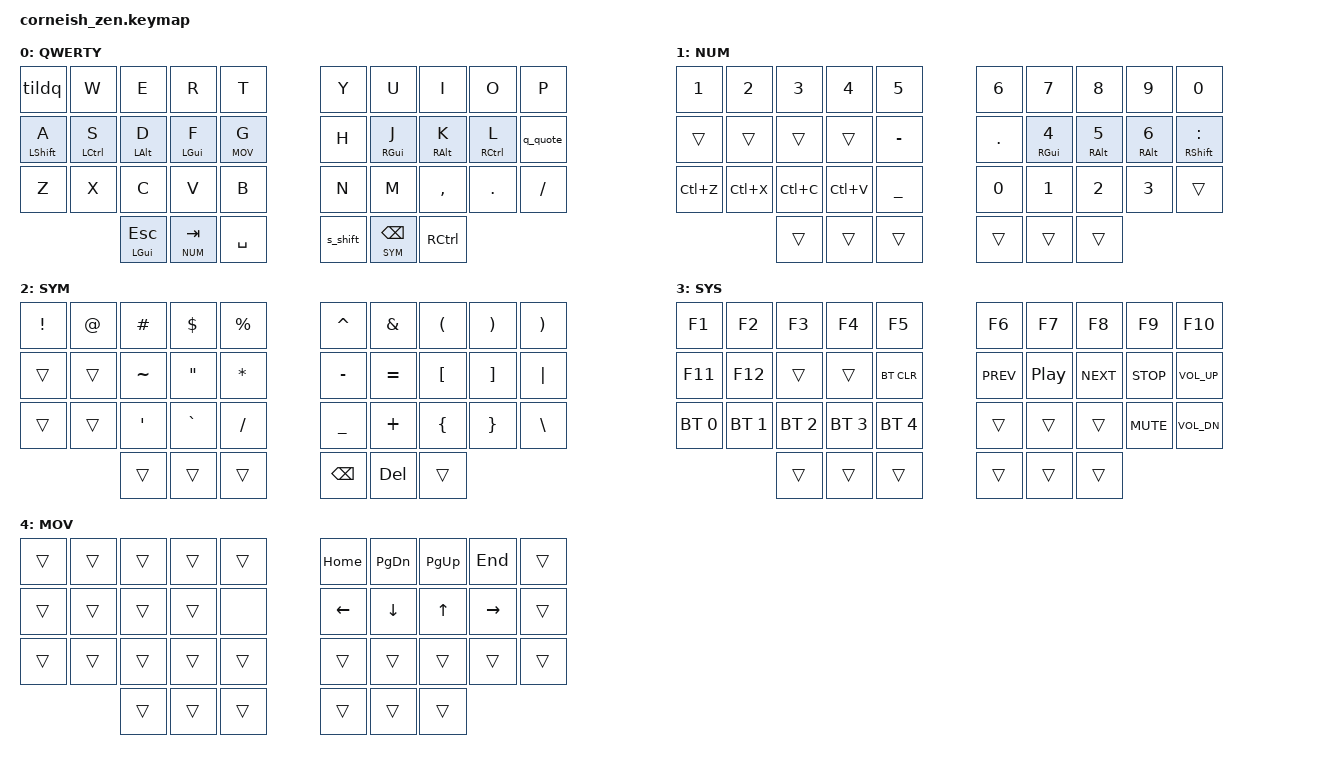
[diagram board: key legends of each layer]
#include <behaviors.dtsi>
#include <dt-bindings/zmk/keys.h>
#include <dt-bindings/zmk/bt.h>

#define DEF 0
#define NUM 1 
#define SYM 2
#define SYS 3
#define MOV 4

/ {
  chosen {
    zmk,physical-layout = &foostan_corne_5col_layout;
  };
};

  &caps_word {
    continue-list = <UNDERSCORE MINUS BSPC DEL N1 N2 N3 N4 N5 N6 N7 N8 N9 N0>;
  };

/ {
  conditional_layers {
    compatible = "zmk,conditional-layers";
    try_layer {
      if-layers = <1 2>;
      then-layer = <3>;
    };
  };
};

/ {
  behaviors {
    
    hm: home_row_mod {
      compatible = "zmk,behavior-hold-tap";
      #binding-cells = <2>;
      flavor = "balanced";
      require-prior-idle-ms = <150>;
      tapping-term-ms = <280>;
      quick-tap-ms = <175>;
      bindings = <&kp>, <&kp>;
    };

    tildq: tap_dance_0 {
      compatible = "zmk,behavior-tap-dance";
      #binding-cells = <0>;
      tapping-term-ms = <200>;
      bindings = <&kp Q>, <&kp TILDE>;
    };

    s_shift: tap_dance_1 {
      compatible = "zmk,behavior-tap-dance";
      #binding-cells = <0>;
      tapping-term-ms = <200>;
      bindings = <&mt RSHFT RET>, <&caps_word>;
    };

    q_quote: tap_dance_2 {
      compatible = "zmk,behavior-tap-dance";
      #binding-cells = <0>;
      tapping-term-ms = <200>;
      bindings = <&hm RSHFT SEMI>, <&kp DQT>;
    };
  };
};

/ {
  keymap {
    compatible = "zmk,keymap";

    DEF {
      display-name = "QWERTY";
      bindings = <
      // ╭──────────────┬─────────────┬─────────────┬─────────────┬─────────────╮      ╭─────────────┬─────────────┬──────────────┬─────────────┬─────────────╮
      // │    Q/(~)     │      W      │    E        │    R        │    T        │      │    Y        │    U        │    I         │    O        │    P        │
            &tildq           &kp W        &kp E         &kp R         &kp T                &kp Y         &kp U         &kp I          &kp O         &kp P
      // ├──────────────┼─────────────┼─────────────┼─────────────┼─────────────┤      ├─────────────┼─────────────┼──────────────┼─────────────┼─────────────┤
      // │    A         │    S        │    D        │    F        │    G        │      │    H        │ J/RGUI      │ K/RALT       │ L/RCTRL     │   ;/:/["]   │
          &hm LSHFT A     &hm LCTRL S  &hm LALT D    &hm LGUI F      &lt MOV G            &kp H       &hm RGUI J    &hm RALT K     &hm RCTRL L   &q_quote
      // ├──────────────┼─────────────┼─────────────┼─────────────┼─────────────┤      ├─────────────┼─────────────┼──────────────┼─────────────┼─────────────┤
      // │    Z         │    X        │    C        │    V        │    B        │      │    N        │    M        │    , <       │    . >      │    / ?      │
            &kp Z         &kp X         &kp C         &kp V         &kp B                 &kp N         &kp M         &kp COMMA      &kp DOT       &kp FSLH   
      // ╰──────────────┴─────────────├─────────────┼─────────────┼─────────────┤      ├─────────────┼─────────────┼──────────────┼─────────────┴─────────────╯
      //                              │  ESC/GUI     TAB/NUM      │    SPC      │      │ENT/SHFT/(CW)│   BSP/SYM   │    CTRL      │
                                        &mt LGUI ESC  &lt NUM TAB  &kp SPACE             &s_shift      &lt SYM BSPC    &kp RCTRL
      //                              ╰─────────────┴─────────────┴─────────────╯      ╰─────────────┴─────────────┴──────────────╯
      >;
    };

    NUM {
      display-name = "NUM";
      bindings = <
      // ╭─────────────┬─────────────┬─────────────┬─────────────┬─────────────╮       ╭─────────────┬─────────────┬─────────────┬─────────────┬─────────────╮
      // │    1 !      │     2 @     │    3 #      │      4 $    │    5        │       │     6       │     7       │     8       │     9       │    0        │
            &kp N1          &kp N2      &kp N3        &kp N4        &kp N5                  &kp N6       &kp N7        &kp N8        &kp N9      &kp N0 
      // ├─────────────┼─────────────┼─────────────┼─────────────┼─────────────┤       ├─────────────┼─────────────┼─────────────┼─────────────┼─────────────┤
      // │             │             │             │             │    -        │       │     .       │     4       │     5       │     6       │   :         │
            &trans          &trans      &trans        &trans      &kp MINUS             &kp DOT      &hm RGUI N4   &hm RALT N5   &hm RALT N6    &hm RSHFT COLON 
      // ├─────────────┼─────────────┼─────────────┼─────────────┼─────────────┤       ├─────────────┼─────────────┼─────────────┼─────────────┼─────────────┤
      // │  UNDO/bg%   │  CUT        │ COPY/SIGINIT   PASTE      │    _        │       │     0       │     1       │     2       │     3       │             │
            &kp LC(Z)     &kp LC(X)     &kp LC(C)    &kp LC(V)      &kp UNDER              &kp N0        &kp N1       &kp N2        &kp N3       &trans
      // ╰─────────────┴─────────────┼─────────────┼─────────────┼─────────────┤       ├─────────────┼─────────────┼─────────────┼─────────────┴─────────────╯
      //                             │             │             │             │       │             │             │             │
                                        &trans         &trans       &trans                &trans        &trans        &trans
      //                             ╰─────────────┴─────────────┴─────────────╯       ╰─────────────┴─────────────┴─────────────╯
      //
      >;
    };

    SYM {
      display-name = "SYM";
      bindings = <
      // ╭─────────────┬─────────────┬─────────────┬─────────────┬─────────────╮       ╭─────────────┬─────────────┬─────────────┬──────────────┬────────────╮
      // │  !          │  @          │  #          │  $          │  %          │       │  ^          │  &          │  (          │  )           │  )         │
            &kp EXCL      &kp AT        &kp HASH      &kp DLLR      &kp PRCNT             &kp CARET     &kp AMPS     &kp LPAR       &kp RPAR       &kp RPAR    
      // ├─────────────┼─────────────┼─────────────┼─────────────┼─────────────│       ├─────────────┼─────────────┼─────────────┼──────────────┼────────────┤
      // │             │             │     ~  `    │    "        │    *        │       │  ─          │  =          │  [          │  ]           │  "|"       │
            &trans        &trans        &kp TILDE       &kp DQT     &kp ASTRK             &kp MINUS     &kp EQUAL     &kp LBKT      &kp RBKT       &kp PIPE 
      // ├─────────────┼─────────────┼─────────────┼─────────────┼─────────────│       ├─────────────┼─────────────┼─────────────┼─────────────┼─────────────┤
      // │             │             │      '      │      `      │      /      │       │  ─          │  +          │  {          │  }          │    \        │
            &trans        &trans        &kp APOS      &kp GRAVE    &kp FSLH              &kp UNDER     &kp PLUS      &kp LBRC      &kp RBRC       &kp BSLH    
      // ╰─────────────┴─────────────┼─────────────┼─────────────┼─────────────│       ├─────────────┼─────────────┼─────────────┼─────────────┴─────────────╯
      //                             │             │             │             │       │             │             │             │
                                        &trans         &trans        &trans                &kp BSPC     &kp DEL        &trans
      //                             ╰─────────────┴─────────────┴─────────────╯       ╰─────────────┴─────────────┴─────────────╯
      >;
    };

    SYS {
      display-name = "SYS";
      bindings = <
      // ╭─────────────┬─────────────┬─────────────┬─────────────┬─────────────╮       ╭─────────────┬─────────────┬─────────────┬─────────────┬─────────────╮
      // │             │             │             │             │             │       │             │             │             │             │             │
            &kp F1        &kp F2        &kp F3        &kp F4        &kp F5                 &kp F6      &kp F7        &kp F8        &kp F9        &kp F10
      // ├─────────────┼─────────────┼─────────────┼─────────────┼─────────────┤       ├─────────────┼─────────────┼─────────────┼─────────────┼─────────────┤
      // │             │             │             │             │  BT clear   │       │   CPREV     │ PLAY/PAUSE  │   NEXT      │    STOP     │    VOL UP   │
            &kp F11       &kp F12       &trans       &trans        &bt BT_CLR             &kp C_PREV     &kp C_PP     &kp C_NEXT   &kp C_STOP   &kp C_VOL_UP
      // ├─────────────┼─────────────┼─────────────┼─────────────┼─────────────┤       ├─────────────┼─────────────┼─────────────┼─────────────┼─────────────┤
      // │ BT0         │    BT1      │   BT2       │  BT3        │  BT4        │       │             │             │             │    MUTE     │   VOL UP    │
          &bt BT_SEL 0  &bt BT_SEL 1  &bt BT_SEL 2  &bt BT_SEL 3  &bt BT_SEL 4              &trans      &trans        &trans      &kp C_MUTE    &kp C_VOL_DN 
      // ╰─────────────┴─────────────┼─────────────┼─────────────┼─────────────┤       ├─────────────┼─────────────┼─────────────┼─────────────┴─────────────╯
      //                             │             │             │             │       │             │             │             │                            
                                        &trans         &trans       &trans                &trans        &trans        &trans
      //                             ╰─────────────┴─────────────┴─────────────╯       ╰─────────────┴─────────────┴─────────────╯
      >;
    };

    MOV {
      display-name = "MOV";
      bindings = <
      // ╭─────────────┬─────────────┬─────────────┬─────────────┬─────────────╮       ╭─────────────┬─────────────┬─────────────┬──────────────┬────────────╮
      // │             │             │             │             │             │       │             │             │             │              │            │
            &trans        &trans           &trans       &trans      &trans                &kp HOME      &kp PG_DN     &kp PG_UP      &kp END        &trans
      // ├─────────────┼─────────────┼─────────────┼─────────────┼─────────────│       ├─────────────┼─────────────┼─────────────┼──────────────┼────────────┤
      // │             │             │             │             │             │       │             │             │             │              │            │
            &trans        &trans           &trans       &trans       &none             &kp LEFT_ARROW &kp DOWN_ARROW &kp UP_ARROW &kp RIGHT_ARROW &trans
      // ├─────────────┼─────────────┼─────────────┼─────────────┼─────────────│       ├─────────────┼─────────────┼─────────────┼──────────────┼────────────┤
      // │             │             │             │             │             │       │             │             │             │              │            │
            &trans        &trans        &trans          &trans      &trans                &trans      &trans          &trans        &trans          &trans
      // ╰─────────────┴─────────────┼─────────────┼─────────────┼─────────────│       ├─────────────┼─────────────┼─────────────┼─────────────┴─────────────╯
      //                             │             │             │             │       │             │             │             │
                                        &trans         &trans        &trans                &trans        &trans        &trans
      //                             ╰─────────────┴─────────────┴─────────────╯       ╰─────────────┴─────────────┴─────────────╯
      >;
    };
  }; 
};
